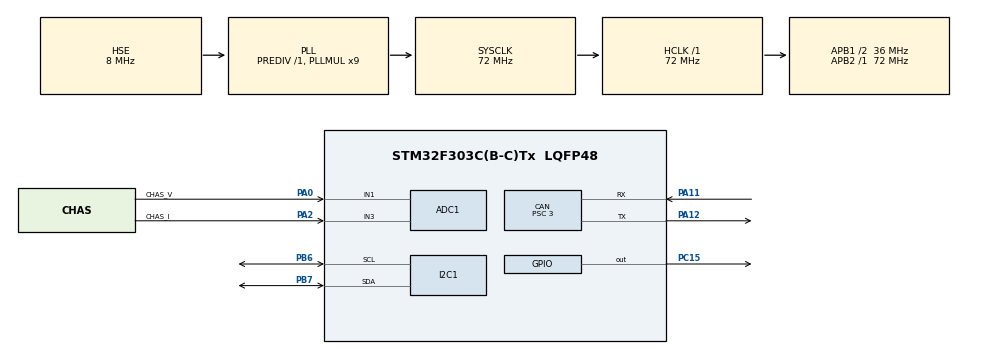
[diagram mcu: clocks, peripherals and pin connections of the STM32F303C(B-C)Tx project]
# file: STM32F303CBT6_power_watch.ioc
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ADC1.Channel-1\#ChannelRegularConversion=ADC_CHANNEL_1
ADC1.Channel-2\#ChannelRegularConversion=ADC_CHANNEL_3
ADC1.ClockPrescaler=ADC_CLOCK_SYNC_PCLK_DIV1
ADC1.ContinuousConvMode=ENABLE
ADC1.DMAContinuousRequests=ENABLE
ADC1.EOCSelection=ADC_EOC_SEQ_CONV
ADC1.EnableInjectedConversion=DISABLE
ADC1.NbrOfConversion=2
ADC1.NbrOfConversionFlag=1
ADC1.Offset-1\#ChannelRegularConversion=0
ADC1.Offset-2\#ChannelRegularConversion=0
ADC1.OffsetNumber-1\#ChannelRegularConversion=ADC_OFFSET_NONE
ADC1.OffsetNumber-2\#ChannelRegularConversion=ADC_OFFSET_NONE
ADC1.Rank-1\#ChannelRegularConversion=1
ADC1.Rank-2\#ChannelRegularConversion=2
ADC1.SamplingTime-1\#ChannelRegularConversion=ADC_SAMPLETIME_601CYCLES_5
ADC1.SamplingTime-2\#ChannelRegularConversion=ADC_SAMPLETIME_601CYCLES_5
ADC1.master=1
CAN.BS1=CAN_BS1_7TQ
CAN.BS2=CAN_BS2_4TQ
CAN.CalculateBaudRate=999999
CAN.CalculateTimeBit=1000
CAN.CalculateTimeQuantum=83.33333333333334
CAN.Prescaler=3
Dma.ADC1.0.Direction=DMA_PERIPH_TO_MEMORY
Dma.ADC1.0.Instance=DMA1_Channel1
Dma.ADC1.0.MemDataAlignment=DMA_MDATAALIGN_HALFWORD
Dma.ADC1.0.MemInc=DMA_MINC_ENABLE
Dma.ADC1.0.Mode=DMA_CIRCULAR
Dma.ADC1.0.PeriphDataAlignment=DMA_PDATAALIGN_HALFWORD
Dma.ADC1.0.PeriphInc=DMA_PINC_DISABLE
Dma.ADC1.0.Priority=DMA_PRIORITY_VERY_HIGH
Dma.Request0=ADC1
I2C1.Timing=0x00201D2B
Mcu.Family=STM32F3
Mcu.Name=STM32F303C(B-C)Tx
Mcu.Package=LQFP48
NVIC.DMA1_Channel1_IRQn=true\:0\:0\:false\:false\:true\:false\:true\:true
NVIC.PriorityGroup=NVIC_PRIORITYGROUP_4
NVIC.TIM3_IRQn=true\:0\:0\:false\:false\:true\:true\:true\:true
PA0.GPIO_Label=CHAS_V
PA0.Mode=IN1-Single-Ended
PA0.Signal=ADC1_IN1
PA11.Mode=CAN_Activate
PA11.Signal=CAN_RX
PA12.Mode=CAN_Activate
PA12.Signal=CAN_TX
PA13.Mode=Serial_Wire
PA13.Signal=SYS_JTMS-SWDIO
PA14.Mode=Serial_Wire
PA14.Signal=SYS_JTCK-SWCLK
PA2.GPIO_Label=CHAS_I
PA2.Mode=IN3-Single-Ended
PA2.Signal=ADC1_IN3
PB6.Mode=I2C
PB6.Signal=I2C1_SCL
PB7.Mode=I2C
PB7.Signal=I2C1_SDA
PC15-OSC32_OUT.Signal=GPIO_Output
PF0-OSC_IN.Mode=HSE-External-Oscillator
PF0-OSC_IN.Signal=RCC_OSC_IN
PF1-OSC_OUT.Mode=HSE-External-Oscillator
PF1-OSC_OUT.Signal=RCC_OSC_OUT
ProjectManager.HeapSize=0x200
ProjectManager.StackSize=0x400
ProjectManager.TargetToolchain=MDK-ARM V5.32
RCC.AHBFreq_Value=72000000
RCC.APB1CLKDivider=RCC_HCLK_DIV2
RCC.APB1Freq_Value=36000000
RCC.APB1TimFreq_Value=72000000
RCC.APB2Freq_Value=72000000
RCC.APB2TimFreq_Value=72000000
RCC.CortexFreq_Value=72000000
RCC.HCLKFreq_Value=72000000
RCC.HSE_VALUE=8000000
RCC.HSI_VALUE=8000000
RCC.LSE_VALUE=32768
RCC.PLLMUL=RCC_PLL_MUL9
RCC.PLLSourceVirtual=RCC_PLLSOURCE_HSE
RCC.SYSCLKFreq_VALUE=72000000
RCC.SYSCLKSourceVirtual=RCC_SYSCLKSOURCE_PLLCLK
RCC.USBFreq_Value=72000000
TIM3.Period=100-1
TIM3.Prescaler=72-1
VP_TIM3_VS_ClockSourceINT.Mode=Internal
board=custom

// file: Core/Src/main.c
/* USER CODE BEGIN Header */
/**
  ******************************************************************************
  * @file           : main.c
  * @brief          : Main program body
  ******************************************************************************
  * @attention
  *
  * Copyright (c) 2024 STMicroelectronics.
  * All rights reserved.
  *
  * This software is licensed under terms that can be found in the LICENSE file
  * in the root directory of this software component.
  * If no LICENSE file comes with this software, it is provided AS-IS.
  *
  ******************************************************************************
  */
/* USER CODE END Header */
#include "main.h"
#include "adc.h"
#include "can.h"
#include "dma.h"
#include "i2c.h"
#include "tim.h"
#include "gpio.h"

/* USER CODE BEGIN Includes */
#include "OLED.h"
#include "math.h"
#include "can_receive.h"
/* USER CODE END Includes */

void SystemClock_Config(void);

/* USER CODE BEGIN 0 */
float uint_to_float(int x_int, float x_min, float x_max, int bits)
{
	/* converts unsigned int to float, given range and number of bits */
	float span = x_max - x_min;
	float offset = x_min;
	return ((float)x_int)*span/((float)((1<<bits)-1)) + offset;
}

int float_to_uint(float x_float, float x_min, float x_max, int bits)
{
	/* Converts a float to an unsigned int, given range and number of bits */
	float span = x_max - x_min;
	float offset = x_min;
	return (int) ((x_float-offset)*((float)((1<<bits)-1))/span);
}
//运放采样校准系数
adc_data_t adc_data=
{//y=k*x+b
	.chas_v_m=1.0126f, .chas_v_a=0.0323f,
	.chas_i_m=1.1638f, .chas_i_a=-0.3145f,
};

float P;
int16_t V_f,I_f,P_f;
int16_t data[4]={};
int gpp=0,gdd=0;
/* USER CODE END 0 */

int main(void)
{

  /* MCU Configuration--------------------------------------------------------*/

  /* Reset of all peripherals, Initializes the Flash interface and the Systick. */
  HAL_Init();

  /* Configure the system clock */
  SystemClock_Config();

  /* Initialize all configured peripherals */
  MX_GPIO_Init();
  MX_DMA_Init();
  MX_ADC1_Init();
  MX_I2C1_Init();
  MX_TIM3_Init();
  MX_CAN_Init();
  /* USER CODE BEGIN 2 */
	//can
	CAN_Init();
	//oled
	OLED_Init();
	//tim
	HAL_TIM_Base_Start_IT(&htim3);
	//adc
	HAL_ADCEx_Calibration_Start(&hadc1,ADC_SINGLE_ENDED);
	HAL_ADC_Start_DMA(&hadc1,(uint32_t*)adc_data.adc1_list_record,2*10);

  /* USER CODE END 2 */

  /* Infinite loop */
  while (1)
  {

    /* USER CODE BEGIN 3 */

		P=adc_data.chas_v*adc_data.chas_i;
		V_f=100*(fabs(adc_data.chas_v-(int)adc_data.chas_v));
		I_f=100*(fabs(adc_data.chas_i-(int)adc_data.chas_i));
		P_f=100*(fabs((P-(int)P)));

		OLED_ShowString(1,1,"V:");
		OLED_ShowSignedNum(1,3,(int)adc_data.chas_v,3);
		OLED_ShowChar(1,7,'.');
		OLED_ShowNum(1,8,V_f,2);

		OLED_ShowString(2,1,"I:");
		OLED_ShowSignedNum(2,3,(int)adc_data.chas_i,3);
		OLED_ShowChar(2,7,'.');
		OLED_ShowNum(2,8,I_f,2);

		OLED_ShowString(3,1,"P:");
		OLED_ShowSignedNum(3,3,(int)P,3);
		OLED_ShowChar(3,7,'.');
		OLED_ShowNum(3,8,P_f,2);

		data[0]=float_to_uint(adc_data.chas_v,-48,48,16);
		data[1]=float_to_uint(adc_data.chas_i,-48,48,12);
		data[2]=float_to_uint(adc_data.chas_v*adc_data.chas_i,-48,48,12);

	  CAN_SendData(&hcan,0x00,data);
		gpp=HAL_GPIO_ReadPin(GPIOB,GPIO_PIN_6);
		gdd=HAL_GPIO_ReadPin(GPIOB,GPIO_PIN_7);
		HAL_Delay(50);
  }
  /* USER CODE END 3 */
}

void SystemClock_Config(void)
{
  RCC_OscInitTypeDef RCC_OscInitStruct = {0};
  RCC_ClkInitTypeDef RCC_ClkInitStruct = {0};
  RCC_PeriphCLKInitTypeDef PeriphClkInit = {0};

  /** Initializes the RCC Oscillators according to the specified parameters
  * in the RCC_OscInitTypeDef structure.
  */
  RCC_OscInitStruct.OscillatorType = RCC_OSCILLATORTYPE_HSI|RCC_OSCILLATORTYPE_HSE;
  RCC_OscInitStruct.HSEState = RCC_HSE_ON;
  RCC_OscInitStruct.HSEPredivValue = RCC_HSE_PREDIV_DIV1;
  RCC_OscInitStruct.HSIState = RCC_HSI_ON;
  RCC_OscInitStruct.HSICalibrationValue = RCC_HSICALIBRATION_DEFAULT;
  RCC_OscInitStruct.PLL.PLLState = RCC_PLL_ON;
  RCC_OscInitStruct.PLL.PLLSource = RCC_PLLSOURCE_HSE;
  RCC_OscInitStruct.PLL.PLLMUL = RCC_PLL_MUL9;
  if (HAL_RCC_OscConfig(&RCC_OscInitStruct) != HAL_OK)
  {
    Error_Handler();
  }

  /** Initializes the CPU, AHB and APB buses clocks
  */
  RCC_ClkInitStruct.ClockType = RCC_CLOCKTYPE_HCLK|RCC_CLOCKTYPE_SYSCLK
                              |RCC_CLOCKTYPE_PCLK1|RCC_CLOCKTYPE_PCLK2;
  RCC_ClkInitStruct.SYSCLKSource = RCC_SYSCLKSOURCE_PLLCLK;
  RCC_ClkInitStruct.AHBCLKDivider = RCC_SYSCLK_DIV1;
  RCC_ClkInitStruct.APB1CLKDivider = RCC_HCLK_DIV2;
  RCC_ClkInitStruct.APB2CLKDivider = RCC_HCLK_DIV1;

  if (HAL_RCC_ClockConfig(&RCC_ClkInitStruct, FLASH_LATENCY_2) != HAL_OK)
  {
    Error_Handler();
  }
  PeriphClkInit.PeriphClockSelection = RCC_PERIPHCLK_I2C1;
  PeriphClkInit.I2c1ClockSelection = RCC_I2C1CLKSOURCE_HSI;
  if (HAL_RCCEx_PeriphCLKConfig(&PeriphClkInit) != HAL_OK)
  {
    Error_Handler();
  }
}

/* USER CODE BEGIN 4 */
int count;
void HAL_TIM_PeriodElapsedCallback(TIM_HandleTypeDef *htim)
{//系统定时器1000Hz
  if(htim->Instance == TIM3)
  {
		//计数器变量
		count++;

		adc_data.chas_v=(float)adc_data.adc_list_aver[0]/4096*3.3f*15*adc_data.chas_v_m+adc_data.chas_v_a;
		adc_data.chas_i=-((float)(adc_data.adc_list_aver[1])/4096*3.3f-1.65f)/0.075f*adc_data.chas_i_m+adc_data.chas_i_a;
		//清零
		for(uint8_t i=0;i<2;i++)
		{
			adc_data.adc_list_sum[i]=0;
		}
		//求和
		for(uint8_t i=0;i<10;i++)
		{
			for(uint8_t j=0;j<2;j++)
			{
				adc_data.adc_list_sum[j]+=adc_data.adc1_list_record[i][j];
			}
		}
		//取平均
		for(uint8_t i=0;i<2;i++)
		{
			adc_data.adc_list_aver[i]=adc_data.adc_list_sum[i]/10;
		}

		if(count%500==0)
		{

		}
		if(count%1000==0)
		{
			HAL_GPIO_TogglePin(GPIOC,GPIO_PIN_15);
			count=0;
		}
	}
}
/* USER CODE END 4 */

void Error_Handler(void)
{
  __disable_irq();
  while (1)
  {
  }
}
